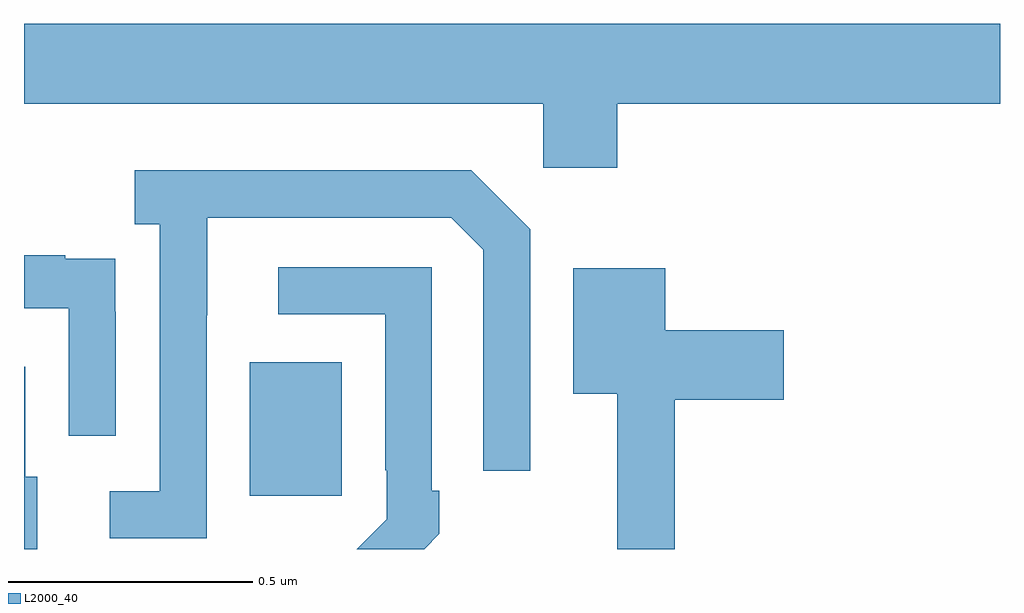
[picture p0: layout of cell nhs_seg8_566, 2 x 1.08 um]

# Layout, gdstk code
import gdstk
lib = gdstk.Library(unit=1e-6, precision=1e-09)
def R(c, l, rs):  # rectangles x0, y0, x1, y1
    for r in rs: c.add(gdstk.rectangle(r[:2], r[2:], *l))
def P(c, l, *ps):  # polygons
    for p in ps: c.add(gdstk.Polygon(p, *l))
L2000_40 = (2000, 40)

nhs_seg8_566 = lib.new_cell('nhs_seg8_566')
R(nhs_seg8_566, L2000_40, [(118.463,1137.009,118.651,1137.283)])
P(nhs_seg8_566, L2000_40, [(119.216,1137.812),(120,1137.812),(120,1137.976),(118,1137.976),(118,1137.812),(119.064,1137.812),(119.064,1137.681),(119.216,1137.681)],
  [(118.374,1137.379),(118.375,1137.379),(118.375,1137.579),(118.875,1137.579),(118.941,1137.513),(118.941,1137.06),(119.037,1137.06),(119.037,1137.555),(118.916,1137.676),(118.227,1137.676),(118.227,1137.566),(118.278,1137.566),(118.278,1137.018),(118.176,1137.018),(118.176,1136.922),(118.374,1136.922)],
  [(118.188,1137.386),(118.187,1137.386),(118.187,1137.495),(118.085,1137.495),(118.085,1137.502),(118,1137.502),(118,1137.393),(118.092,1137.393),(118.092,1137.132),(118.188,1137.132)],
  [(118.851,1136.931),(118.851,1137.019),(118.836,1137.019),(118.836,1137.477),(118.521,1137.477),(118.521,1137.381),(118.74,1137.381),(118.74,1137.061),(118.743,1137.061),(118.743,1136.961),(118.682,1136.9),(118.82,1136.9)],
  [(119.333,1137.206),(119.557,1137.206),(119.557,1137.348),(119.314,1137.348),(119.314,1137.475),(119.126,1137.475),(119.126,1137.218),(119.216,1137.218),(119.216,1136.9),(119.333,1136.9)],
  [(118.027,1137.048),(118.003,1137.048),(118.003,1137.274),(118,1137.274),(118,1136.9),(118.027,1136.9)])

lib.write_gds('nhs_seg8_566.gds')
